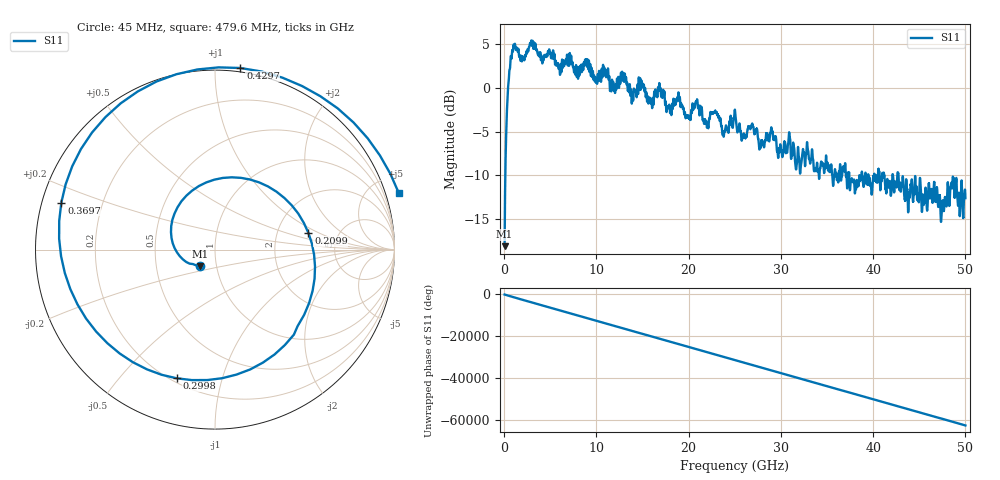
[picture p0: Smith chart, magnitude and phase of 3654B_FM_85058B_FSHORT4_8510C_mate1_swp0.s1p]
!Created with skrf (http://scikit-rf.org).
# Hz S RI R 50.0
!freq ReS11 ImS11
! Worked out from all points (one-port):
!   10001 points, 45 MHz to 50 GHz, reference 50 ohm
!   lowest |S11| = -18.1 dB at 45 MHz (marker M1), VSWR 1.28, Z = 41.8 - j7.89 ohm
!   |S11| at or under -10 dB: 37.41 GHz to 38.73 GHz (1.319 GHz wide, 3.47 % of centre); 41.21 GHz to 42.09 GHz (877.4 MHz wide, 2.11 % of centre); 42.75 GHz to end of sweep (the widest 3 of 21)
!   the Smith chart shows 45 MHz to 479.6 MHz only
!   S11 on the Smith chart (normalised r, x): 45 MHz: 0.84, -0.16; 209.9 MHz: 3.01, +0.78; 299.8 MHz: 0.22, -0.72; 369.7 MHz: 0.06, +0.15; 429.7 MHz: -0.02, +1.15; 479.6 MHz: -1.49, +6.33
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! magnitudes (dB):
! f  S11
! 45 MHz  -18.1
! 209.9 MHz  -5.5
! 299.8 MHz  -2.5
! 369.7 MHz  -1.0
! 429.7 MHz  0.2
! 479.6 MHz  0.6
! 1.169 GHz  5.1
! 6.289 GHz  3.2
! 12.53 GHz  1.1
! 15.84 GHz  -1.2
! 16.88 GHz  -0.2
! 17.91 GHz  -2.0
! 18.78 GHz  -1.1
! 21.92 GHz  -3.8
! 22.95 GHz  -2.8
! 23.76 GHz  -5.4
! 25.02 GHz  -2.6
! 25.93 GHz  -5.4
! 26.79 GHz  -4.4
! 27.84 GHz  -6.4
! 29.03 GHz  -5.0
! 31.27 GHz  -7.4
! 37.51 GHz  -11.5
! 43.76 GHz  -13.1
! 46.74 GHz  -13.0
! 47.51 GHz  -13.1
! 48.81 GHz  -12.4
! 50 GHz  -12.6
